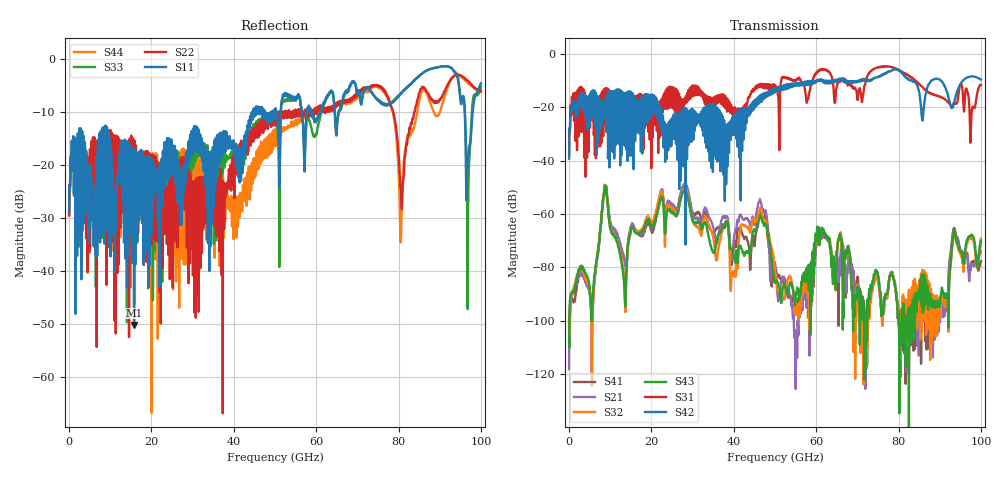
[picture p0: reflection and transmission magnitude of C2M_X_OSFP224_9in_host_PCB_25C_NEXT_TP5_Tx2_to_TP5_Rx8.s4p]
# GHz S RI R 45
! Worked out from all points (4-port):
!   4000 points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, 25 MHz to 100 GHz, reference 45 ohm
!   strongest paths, dB at 25 MHz, 25.02 GHz, 50.02 GHz, 75.03 GHz, 100 GHz:
!     S42: -39.2, -23.9, -12.9, -8.7, -9.6
!     S31: -37.7, -14.6, -12.1, -5.0, -11.6
!     S43: -106.4, -59.5, -85.7, -83.1, -70.3
!     S32: -104.4, -58.0, -82.0, -85.1, -69.2
!     S21: -118.1, -56.5, -78.5, -85.1, -74.0
!     S41: -100.4, -57.9, -80.2, -83.1, -77.6
!   lowest |S11| = -50.2 dB at 15.8 GHz (marker M1), VSWR 1.01, Z = 44.9 - j0.236 ohm
!   |S11| at or under -10 dB: start of sweep to 44.63 GHz; 59.03 GHz to 60.91 GHz (1.884 GHz wide, 3.14 % of centre); 96.08 GHz to 98 GHz (1.927 GHz wide, 1.99 % of centre) (the widest 3 of 20)
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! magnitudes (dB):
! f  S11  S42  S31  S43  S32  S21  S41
! 25 MHz  -28.9  -39.2  -37.7  -106.4  -104.4  -118.1  -100.4
! 6.3 GHz  -27.7  -19.2  -36.7  -81.2  -82.4  -83.4  -82.6
! 8.725 GHz  -16.1  -23.7  -17.4  -49.5  -49.4  -49.1  -49.2
! 13.22 GHz  -16.5  -17.8  -19.2  -83.3  -81.3  -75.3  -75.8
! 15.8 GHz  -50.2  -16.7  -21.1  -66.0  -65.8  -64.8  -65.3
! 80.58 GHz  -6.6  -6.9  -6.4  -102.6  -102.7  -105.1  -102.6
! 100 GHz  -4.6  -9.6  -11.6  -70.3  -69.2  -74.0  -77.6
